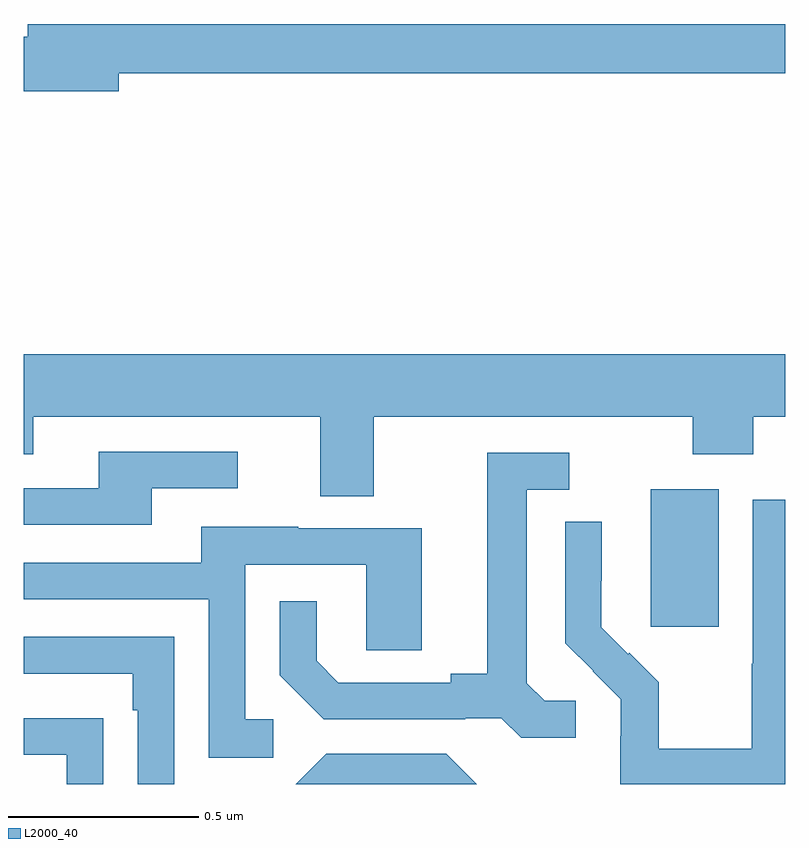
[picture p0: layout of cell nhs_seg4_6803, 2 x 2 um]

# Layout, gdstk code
import gdstk
lib = gdstk.Library(unit=1e-6, precision=1e-09)
def R(c, l, rs):  # rectangles x0, y0, x1, y1
    for r in rs: c.add(gdstk.rectangle(r[:2], r[2:], *l))
def P(c, l, *ps):  # polygons
    for p in ps: c.add(gdstk.Polygon(p, *l))
L2000_40 = (2000, 40)

nhs_seg4_6803 = lib.new_cell('nhs_seg4_6803')
R(nhs_seg4_6803, L2000_40, [(196.646,752.313,196.825,752.674)])
P(nhs_seg4_6803, L2000_40, [(195.25,753.766),(197,753.766),(197,753.895),(195.011,753.895),(195.011,753.861),(195,753.861),(195,753.719),(195.25,753.719)],
  [(195.919,752.864),(196.756,752.864),(196.756,752.765),(196.916,752.765),(196.916,752.864),(197,752.864),(197,753.028),(195,753.028),(195,752.765),(195.025,752.765),(195.025,752.864),(195.779,752.864),(195.779,752.656),(195.919,752.656)],
  [(195.337,752.676),(195.562,752.676),(195.562,752.772),(195.197,752.772),(195.197,752.676),(195,752.676),(195,752.58),(195.337,752.58)],
  [(196.45,752.118),(196.368,752.118),(196.321,752.165),(196.321,752.673),(196.432,752.673),(196.432,752.769),(196.217,752.769),(196.217,752.189),(196.121,752.189),(196.121,752.166),(195.826,752.166),(195.769,752.223),(195.769,752.38),(195.672,752.38),(195.672,752.186),(195.788,752.07),(196.16,752.07),(196.16,752.073),(196.254,752.073),(196.306,752.021),(196.45,752.021)],
  [(197,752.646),(196.914,752.646),(196.914,752.216),(196.912,752.216),(196.912,751.993),(196.667,751.993),(196.667,752.167),(196.59,752.244),(196.587,752.241),(196.517,752.312),(196.517,752.434),(196.518,752.434),(196.518,752.588),(196.422,752.588),(196.422,752.27),(196.495,752.197),(196.494,752.196),(196.568,752.122),(196.568,752.025),(196.566,752.025),(196.566,751.9),(197,751.9)],
  [(195.655,752.07),(195.582,752.07),(195.582,752.475),(195.9,752.475),(195.9,752.251),(196.045,752.251),(196.045,752.571),(195.721,752.571),(195.721,752.575),(195.467,752.575),(195.467,752.481),(195,752.481),(195,752.385),(195.486,752.385),(195.486,751.969),(195.655,751.969)],
  [(195.396,752.286),(195,752.286),(195,752.19),(195.287,752.19),(195.287,752.093),(195.3,752.093),(195.3,751.9),(195.396,751.9)],
  [(195.209,752.072),(195.107,752.072),(195.107,752.073),(195,752.073),(195,751.977),(195.113,751.977),(195.113,751.9),(195.209,751.9)],
  [(196.11,751.98),(195.795,751.98),(195.715,751.9),(196.19,751.9)])

lib.write_gds('nhs_seg4_6803.gds')
